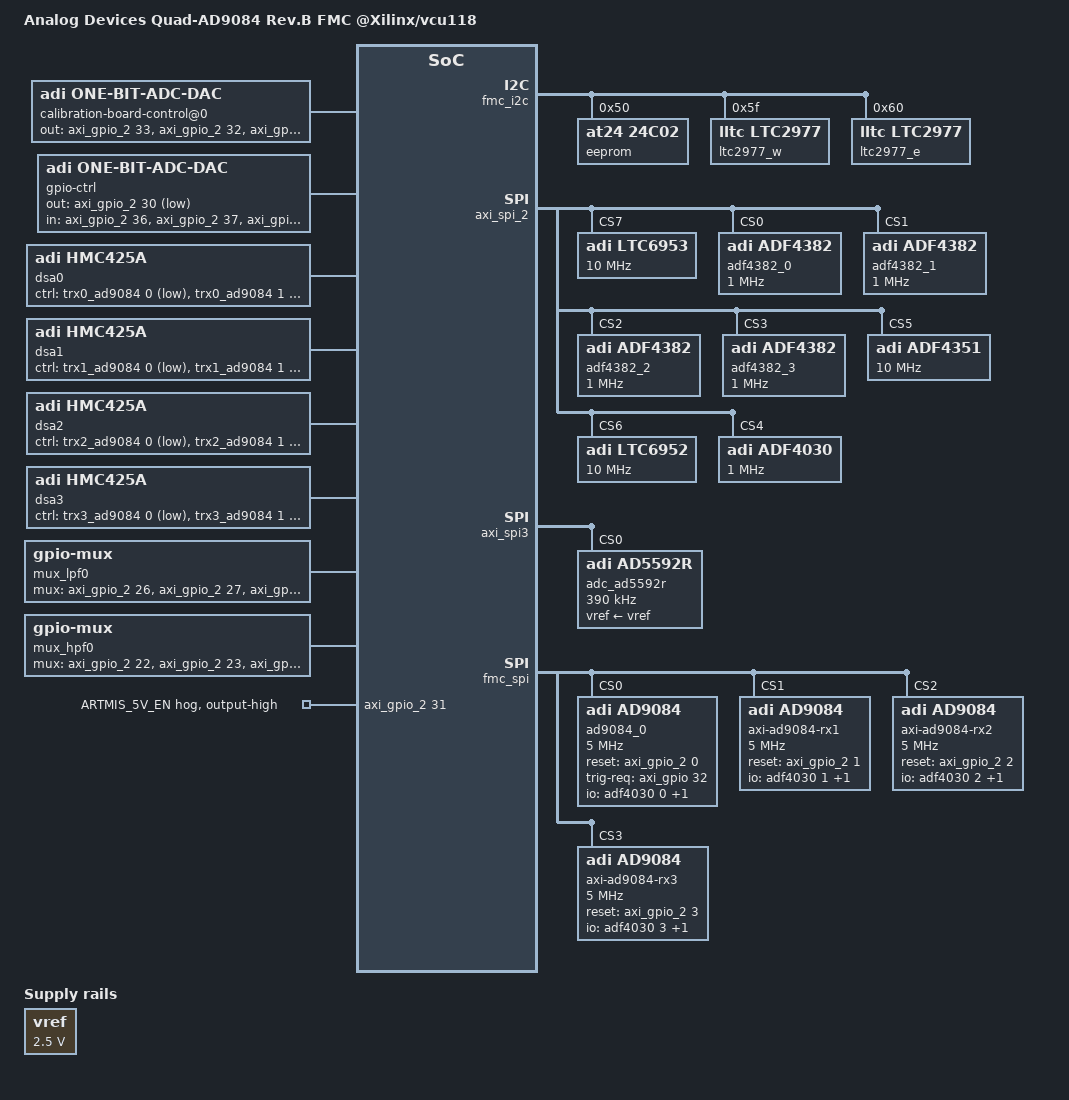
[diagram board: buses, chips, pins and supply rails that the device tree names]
// SPDX-License-Identifier: GPL-2.0
/*
 * Analog Devices Quad-AD9084 RevB
 * https://wiki.analog.com/resources/tools-software/linux-drivers/iio-mxfe/ad9084
 * https://wiki.analog.com/resources/eval/user-guides/ad9084_fmca_ebz/ad9084_fmca_ebz_hdl
 *
 * hdl_project: <quad_apollo/vcu118>
 * board_revision: <Rev.B>
 *
 * Copyright (C) 2024-2025 Analog Devices Inc.
 */

/dts-v1/;

#include "vcu118.dtsi"
#include <dt-bindings/iio/adc/adi,ad9088.h>
#include <dt-bindings/jesd204/adxcvr.h>
#include <dt-bindings/iio/adi,ad5592r.h>

#define fmc_i2c fmcp_hspc_iic
#define fmc_spi axi_spi

#ifndef DEVICE_PROFILE_NAME
#define DEVICE_PROFILE_NAME	"id01_uc42.bin"
#endif

//#define HSCI_FIXED_TIMING_PAR	1
#define HSCI_SPEED 800

#define min(X, Y)  ((X) < (Y) ? (X) : (Y))

#define MHz			1000000

#ifndef FREQ_J1_MHz
#define FREQ_J1_MHz		(400 * MHz)
#endif

#ifndef TX_CORE_CLK_MHz
#define TX_CORE_CLK_MHz		(200 * MHz)
#endif

#ifndef RX_CORE_CLK_MHz
#define RX_CORE_CLK_MHz		(200 * MHz)
#endif

#ifndef FPGA_REFCLK_CLK_MHz
#define FPGA_REFCLK_CLK_MHz	(200 * MHz)
#endif

#ifndef SYSREF_CLK_MHz
#define SYSREF_CLK_MHz		(6250000)
#endif

#define ONCHIP_PLL_LOW_FREQ	(400 * MHz)
#define EXT_VCO_FREQ		(2000 * MHz)

#define ADF4382_DIVIDER		1
#define ADF4382_DIG_DELAY	14
#define ADF4382_ANA_DELAY	0

#define APOLLO_SYSREF_DIVIDER	(FREQ_J1_MHz / SYSREF_CLK_MHz)
#define APOLLO_SYSREF_DIG_DELAY	14
#define APOLLO_SYSREF_ANA_DELAY	0
#define APOLLO_SYSREF_MODE	0

#define LTC6853_FOLLOWER_IN_DIG_DELAY	0
#define LTC6853_FOLLOWER_IN_ANA_DELAY	0

#define LTC6853_FOLLOWER_EZS_SRQ_DIVIDER	APOLLO_SYSREF_DIVIDER
#define LTC6853_FOLLOWER_EZS_SRQ_DIG_DELAY	14
#define LTC6853_FOLLOWER_EZS_SRQ_ANA_DELAY	0

#define FPGA_REFCLK_DIVIDER	(EXT_VCO_FREQ / FPGA_REFCLK_CLK_MHz)
#define FPGA_REFCLK_DIG_DELAY	0
#define FPGA_REFCLK_ANA_DELAY	0

#define FPGA_CORE_CLK_TX_DIVIDER	(EXT_VCO_FREQ / TX_CORE_CLK_MHz)
#define FPGA_CORE_CLK_TX_DIG_DELAY	0
#define FPGA_CORE_CLK_TX_ANA_DELAY	0

#define FPGA_CORE_CLK_RX_DIVIDER	(EXT_VCO_FREQ / RX_CORE_CLK_MHz)
#define FPGA_CORE_CLK_RX_DIG_DELAY	0
#define FPGA_CORE_CLK_RX_ANA_DELAY	0

#define APOLLO_LOWFREQ_DIVIDER		(FREQ_J1_MHz / ONCHIP_PLL_LOW_FREQ)
#define APOLLO_LOWFREQ_DIG_DELAY	0
#define APOLLO_LOWFREQ_ANA_DELAY	0

#undef APOLLO_LOWFREQ_PATH_ENABLED

#define LTC6953_AION_BSYNC_6_DIVIDER	64
#define LTC6953_AION_BSYNC_6_DIG_DELAY	14
#define LTC6953_AION_BSYNC_6_ANA_DELAY	0

#define J50_J51_DIVIDER			(FREQ_J1_MHz / SYSREF_CLK_MHz)
#define J50_J51_DIG_DELAY		14
#define J50_J51_ANA_DELAY		0

#define LTC6952_REF_IN_DIVIDER		4
#define LTC6952_REF_IN_DIG_DELAY	0
#define LTC6952_REF_IN_ANA_DELAY	0

#define LTC6852_EZS_SRQ_IN_DIVIDER	(FREQ_J1_MHz / SYSREF_CLK_MHz)
#define LTC6852_EZS_SRQ_IN_DIG_DELAY	14
#define LTC6852_EZS_SRQ_IN_ANA_DELAY	0

#define ADF4351_REF_IN_DIVIDER		20

/* LTC6952 */
#define J48_J49_DIVIDER			(EXT_VCO_FREQ / SYSREF_CLK_MHz)
#define J48_J49_DIG_DELAY		0
#define J48_J49_ANA_DELAY		0

#define ADF4030_REF_IN_DIVIDER		200
#define ADF4030_REF_IN_DIG_DELAY	0
#define ADF4030_REF_IN_ANA_DELAY	0

#define ADF4030_BSYNC_8_DIVIDER		(EXT_VCO_FREQ / SYSREF_CLK_MHz)
#define ADF4030_BSYNC_8_DIG_DELAY	0
#define ADF4030_BSYNC_8_ANA_DELAY	0


/ {
	model = "Analog Devices Quad-AD9084 Rev.B FMC @Xilinx/vcu118";

	clocks {
		clkin_j1: clock@0 {
			#clock-cells = <0>;
			compatible = "fixed-clock";
			clock-frequency = <FREQ_J1_MHz>;
			clock-output-names = "clkin_j1";
		};
	};

	vref: regulator-vref {
		compatible = "regulator-fixed";
		regulator-name = "vref-ad5592";
		regulator-min-microvolt = <2500000>;
		regulator-max-microvolt = <2500000>;
		regulator-always-on;
	};

	calibration-board-control@0 {
		compatible = "adi,one-bit-adc-dac";
		out-gpios = <&axi_gpio_2 33 0>, <&axi_gpio_2 32 0>, <&axi_gpio_2 34 0>, <&axi_gpio_2 35 0>;

		#address-cells = <1>;
		#size-cells = <0>;

		channel@0 {
			reg = <0>;
			label = "5045_V1";
		};

		channel@1 {
			reg = <1>;
			label = "5045_V2";
		};

		channel@2 {
			reg = <2>;
			label = "CTRL_IND";
		};

		channel@3 {
			reg = <3>;
			label = "CTRL_RX_COMBINED";
		};
	};

	axi-jesd204-rx@0 {
		compatible = "adi,iio-fake-platform-device";
		adi,faked-dev = <&axi_ad9084_rx_jesd>;
		adi,attribute-names =
			"status", "encoder", "lane0_info", "lane1_info",
			"lane2_info", "lane3_info", "lane4_info",
			"lane5_info", "lane6_info", "lane7_info",
			"lane8_info", "lane9_info", "lane10_info",
			"lane11_info", "lane12_info", "lane13_info",
			"lane14_info", "lane15_info";
		label = "axi-jesd204-rx";
	};

	axi-jesd204-rx@1 {
		compatible = "adi,iio-fake-platform-device";
		adi,faked-dev = <&axi_ad9084_tx_jesd>;
		adi,attribute-names = "status", "encoder";
		label = "axi-jesd204-rx";
	};

	axi-adxcvr-rx@2 {
		compatible = "adi,iio-fake-platform-device";
		adi,faked-dev = <&axi_ad9084_adxcvr_rx>;
		adi,attribute-names =
			"eyescan_info", "prbs_status", "prbs_counter_reset",
			"prescale", "enable", "prbs_error_counters", "reg_access",
			"eye_data", "prbs_select";
		label = "axi-adxcvr-rx";
	};

	axi-adxcvr-tx@4 {
		compatible = "adi,iio-fake-platform-device";
		adi,faked-dev = <&axi_ad9084_adxcvr_tx>;
		adi,attribute-names = "prbs_select", "prbs_error_inject", "reg_access";
		label = "axi-adxcvr-tx";
	};

	gpio-board-control@0 {
		compatible = "adi,one-bit-adc-dac";
		out-gpios = <&axi_gpio_2 30 1>;
		in-gpios = <&axi_gpio_2 36 0>, <&axi_gpio_2 37 0>, <&axi_gpio_2 38 0>, <&axi_gpio_2 39 0>,
			   <&axi_gpio_2 40 0>, <&axi_gpio_2 41 0>, <&axi_gpio_2 42 0>, <&axi_gpio_2 43 0>,
			   <&axi_gpio_2 44 0>;
		label = "gpio-ctrl";

		#address-cells = <1>;
		#size-cells = <0>;

		channel@0 {
			reg = <0>;
			label = "12v_PG";
		};
		channel@1 {
			reg = <1>;
			label = "Vdd_0.8v_PG";
		};
		channel@2 {
			reg = <2>;
			label = "Vdda_1.0v_PG";
		};
		channel@3 {
			reg = <3>;
			label = "Vddd_1.8v_PG";
		};
		channel@4 {
			reg = <4>;
			label = "Vdda_1.8v_PG";
		};
		channel@5 {
			reg = <5>;
			label = "Vneg_1.0v_PG";
		};
		channel@6 {
			reg = <6>;
			label = "Artemis_5.0v_PG";
		};
		channel@7 {
			reg = <7>;
			label = "Artemis_Status";
		};
		channel@8 {
			reg = <8>;
			label = "Clk_Status";
		};
		channel@9 {
			reg = <9>;
			label = "admv8913_cs_n";
		};
	};

	adrf5730_0 {
		compatible = "adi,hmc425a";
		ctrl-gpios = <&trx0_ad9084 0 GPIO_ACTIVE_LOW>,
			<&trx0_ad9084 1 GPIO_ACTIVE_LOW>,
			<&trx0_ad9084 2 GPIO_ACTIVE_LOW>,
			<&trx0_ad9084 3 GPIO_ACTIVE_LOW>,
			<&trx0_ad9084 4 GPIO_ACTIVE_LOW>,
			<&trx0_ad9084 5 GPIO_ACTIVE_LOW>;
		label = "dsa0";
	};

	adrf5730_1 {
		compatible = "adi,hmc425a";
		ctrl-gpios = <&trx1_ad9084 0 GPIO_ACTIVE_LOW>,
			<&trx1_ad9084 1 GPIO_ACTIVE_LOW>,
			<&trx1_ad9084 2 GPIO_ACTIVE_LOW>,
			<&trx1_ad9084 3 GPIO_ACTIVE_LOW>,
			<&trx1_ad9084 4 GPIO_ACTIVE_LOW>,
			<&trx1_ad9084 5 GPIO_ACTIVE_LOW>;
		label = "dsa1";
	};

	adrf5730_2 {
		compatible = "adi,hmc425a";
		ctrl-gpios = <&trx2_ad9084 0 GPIO_ACTIVE_LOW>,
			<&trx2_ad9084 1 GPIO_ACTIVE_LOW>,
			<&trx2_ad9084 2 GPIO_ACTIVE_LOW>,
			<&trx2_ad9084 3 GPIO_ACTIVE_LOW>,
			<&trx2_ad9084 4 GPIO_ACTIVE_LOW>,
			<&trx2_ad9084 5 GPIO_ACTIVE_LOW>;
		label = "dsa2";
	};

	adrf5730_3 {
		compatible = "adi,hmc425a";
		ctrl-gpios = <&trx3_ad9084 0 GPIO_ACTIVE_LOW>,
			<&trx3_ad9084 1 GPIO_ACTIVE_LOW>,
			<&trx3_ad9084 2 GPIO_ACTIVE_LOW>,
			<&trx3_ad9084 3 GPIO_ACTIVE_LOW>,
			<&trx3_ad9084 4 GPIO_ACTIVE_LOW>,
			<&trx3_ad9084 5 GPIO_ACTIVE_LOW>;
		label = "dsa3";
	};

	mux_lpf0: mux-controller0 {
		compatible = "gpio-mux";
		#mux-control-cells = <0>;

		mux-gpios = <&axi_gpio_2 26 0>, <&axi_gpio_2 27 0>, <&axi_gpio_2 28 0>, <&axi_gpio_2 29 0>;
	};

	mux_hpf0: mux-controller1 {
		compatible = "gpio-mux";
		#mux-control-cells = <0>;

		mux-gpios = <&axi_gpio_2 22 0>, <&axi_gpio_2 23 0>, <&axi_gpio_2 24 0>, <&axi_gpio_2 25 0>;
	};

	lpf_mux: mux-lpf {
		compatible = "adi,gen_mux";
		mux-controls = <&mux_lpf0>;
		mux-state-names =
			"0", "1", "2", "3", "4", "5", "6", "7", "8", "9", "10", "11", "12", "13", "14", "15";
		label = "lpf-ctrl";
		mux-default-state = "11";
	};

	hpf_mux: mux-hpf {
		compatible = "adi,gen_mux";
		mux-controls = <&mux_hpf0>;
		mux-state-names =
			"0", "1", "2", "3", "4", "5", "6", "7", "8", "9", "10", "11", "12", "13", "14", "15";
		label = "hpf-ctrl";
		mux-default-state = "13";
	};

};


&axi_intc {
	xlnx,kind-of-intr = <0xffff04f0>;
	xlnx,num-intr-inputs = <17>;
};

&axi_ethernet {
	local-mac-address = [00 0a 35 00 90 84];
};

&axi_iic_main {
	compatible = "xlnx,axi-iic-2.1", "xlnx,xps-iic-2.00.a"; /* Needed otherwise the HWMON devices would fail */
};

&fmc_i2c {
	eeprom@50 {
		compatible = "at24,24c02";
		reg = <0x50>;
	};
	/* West */
	ltc2977_w@5f {
		compatible = "lltc,ltc2977";
		reg = <0x5F>;
	};
	/* East */
	ltc2977_e@60 {
		compatible = "lltc,ltc2977";
		reg = <0x60>;
	};
};

&amba_pl {
	rx_dma: dma@7c420000 {
		compatible = "adi,axi-dmac-1.00.a";
		reg = <0x7c420000 0x10000>;
		#dma-cells = <1>;
		#clock-cells = <0>;
		interrupt-parent = <&axi_intc>;
		interrupts = <12 2>;

		clocks = <&clk_bus_0>;
	};

	tx_dma: dma@7c430000  {
		compatible = "adi,axi-dmac-1.00.a";
		reg = <0x7c430000 0x10000>;
		#dma-cells = <1>;
		#clock-cells = <0>;
		interrupt-parent = <&axi_intc>;
		interrupts = <13 2>;
		clocks = <&clk_bus_0>;

	};

	axi_ad9084_core_rx: axi-ad9084-rx-hpc@44a10000 {
		compatible = "adi,axi-ad9081-rx-1.0";
		reg = <0x44a10000 0x8000>;
		dmas = <&rx_dma 0>;
		dma-names = "rx";
		spibus-connected = <&trx0_ad9084>;

		jesd204-device;
		#jesd204-cells = <2>;
		jesd204-inputs = <&axi_ad9084_rx_jesd 0 FRAMER_LINK_B0_RX>;
	};

	axi_ad9084_core_tx: axi-ad9084-tx-hpc@44b10000 {
		compatible = "adi,axi-ad9081-tx-1.0";
		reg = <0x44b10000 0x4000>;
		dmas = <&tx_dma 0>;
		dma-names = "tx";
		clocks = <&trx0_ad9084 1>;
		clock-names = "sampl_clk";
		spibus-connected = <&trx0_ad9084>;
		adi,axi-pl-fifo-enable;
		adi,axi-data-offload-connected = <&axi_data_offload_tx>;

		jesd204-device;
		#jesd204-cells = <2>;
		jesd204-inputs = <&axi_ad9084_tx_jesd 0 DEFRAMER_LINK_B0_TX>;
	};

	axi_ad9084_rx_jesd: axi-jesd204-rx@44a90000 {
		compatible = "adi,axi-jesd204-rx-1.0";
		reg = <0x44a90000 0x4000>;
		interrupt-parent = <&axi_intc>;
		interrupts = <14 2>;

		clocks = <&clk_bus_0>, <&axi_ad9084_adxcvr_rx 1>, <&ltc6952 4>, <&axi_ad9084_adxcvr_rx 0>;
		clock-names = "s_axi_aclk", "link_clk", "device_clk", "lane_clk";

		#clock-cells = <0>;
		clock-output-names = "jesd_rx_lane_clk";

		jesd204-device;
		#jesd204-cells = <2>;
		jesd204-inputs = <&axi_ad9084_adxcvr_rx 0 FRAMER_LINK_B0_RX>;

		adi,lanes-disable-mask = <0x0F00>;
	};

	axi_ad9084_tx_jesd: axi-jesd204-tx@44b90000 {
		compatible = "adi,axi-jesd204-tx-1.0";
		reg = <0x44b90000 0x4000>;

		interrupt-parent = <&axi_intc>;
		interrupts = <15 2>;

		clocks = <&clk_bus_0>, <&axi_ad9084_adxcvr_tx 1>, <&ltc6952 3>, <&axi_ad9084_adxcvr_tx 0>;
		clock-names = "s_axi_aclk", "link_clk", "device_clk", "lane_clk";

		#clock-cells = <0>;
		clock-output-names = "jesd_tx_lane_clk";

		jesd204-device;
		#jesd204-cells = <2>;
		jesd204-inputs = <&axi_ad9084_adxcvr_tx 0 DEFRAMER_LINK_B0_TX>;
	};

	axi_ad9084_adxcvr_rx: axi-adxcvr-rx@44a60000 {
		#address-cells = <1>;
		#size-cells = <0>;
		compatible = "adi,axi-adxcvr-1.0";
		reg = <0x44a60000 0x1000>;

		clocks = <&ltc6952 2>; /* div40 is controlled by axi_ad9084_rx_jesd */
		clock-names = "conv";

		#clock-cells = <1>;
		clock-output-names = "rx_gt_clk", "rx_out_clk";

		adi,sys-clk-select = <XCVR_QPLL>;
		adi,out-clk-select = <XCVR_REFCLK>;
		adi,use-lpm-enable;

		jesd204-device;
		#jesd204-cells = <2>;
		jesd204-inputs =  <&ltc6953 0 FRAMER_LINK_B0_RX>;
	};

	axi_ad9084_adxcvr_tx: axi-adxcvr-tx@44b60000 {
		#address-cells = <1>;
		#size-cells = <0>;
		compatible = "adi,axi-adxcvr-1.0";
		reg = <0x44b60000 0x1000>;

		clocks = <&ltc6952 2>; /* div40 is controlled by axi_ad9084_tx_jesd */
		clock-names = "conv";

		#clock-cells = <1>;
		clock-output-names = "tx_gt_clk", "tx_out_clk";

		adi,sys-clk-select = <XCVR_QPLL>;
		adi,out-clk-select = <XCVR_REFCLK>; /* XCVR_PROGDIV_CLK */

		jesd204-device;
		#jesd204-cells = <2>;
		jesd204-inputs =  <&ltc6953 0 DEFRAMER_LINK_B0_TX>;
	};

	axi_sysid_0: axi-sysid-0@45000000 {
		compatible = "adi,axi-sysid-1.00.a";
		reg = <0x45000000 0x10000>;
	};

	axi_data_offload_rx: data_offload_rx@7c450000 {
		compatible = "adi,axi-data-offload-1.0.a";
		reg = <0x7c450000 0x10000>;
	};

	axi_data_offload_tx: data_offload_tx@7c440000 {
		compatible = "adi,axi-data-offload-1.0.a";
		reg = <0x7c440000 0x10000>;
	};

	axi_spi_2: spi@44A80000  {
		#address-cells = <1>;
		#size-cells = <0>;
		bits-per-word = <8>;
		compatible = "xlnx,axi-quad-spi-3.2", "xlnx,xps-spi-2.00.a";
		fifo-size = <16>;
		interrupt-names = "ip2intc_irpt";
		interrupt-parent = <&axi_intc>;
		interrupts = <7 0>;
		num-cs = <0x8>;
		reg = <0x44A80000 0x1000>;
		xlnx,num-ss-bits = <0x8>;
		xlnx,spi-mode = <0>;
	};

	axi_spi3: spi@44B80000 {
		#address-cells = <1>;
		#size-cells = <0>;
		bits-per-word = <8>;
		compatible = "xlnx,xps-spi-2.00.a";
		fifo-size = <16>;
		interrupt-parent = <&axi_intc>;
		interrupts = <16 0>;
		num-cs = <0x8>;
		reg = <0x44B80000 0x10000>;
		xlnx,num-ss-bits = <0x8>;
		xlnx,spi-mode = <0>;
	};

	axi_gpio_2: gpio@7c470000 {
		#gpio-cells = <2>;
		#interrupt-cells = <2>;
		clock-frequency = <100000000>;
		clock-names = "s_axi_aclk";
		clocks = <&clk_bus_0>;
		compatible = "xlnx,axi-gpio-2.0", "xlnx,xps-gpio-1.00.a";
		gpio-controller;
		interrupt-controller;
		interrupt-names = "ip2intc_irpt";
		interrupt-parent = <&axi_intc>;
		interrupts = <8 2>;
		reg = <0x7c470000 0x1000>;
		xlnx,all-inputs = <0x0>;
		xlnx,all-inputs-2 = <0x0>;
		xlnx,all-outputs = <0x0>;
		xlnx,all-outputs-2 = <0x0>;
		xlnx,dout-default = <0x00000000>;
		xlnx,dout-default-2 = <0x00000000>;
		xlnx,gpio-width = <0x20>;
		xlnx,gpio2-width = <0x20>;
		xlnx,interrupt-present = <0x1>;
		xlnx,is-dual = <0x1>;
		xlnx,tri-default = <0xFFFFFFFF>;
		xlnx,tri-default-2 = <0xFFFFFFFF>;

		artemis-en-hog { /* FIXME: add regulator suport for ADF4382 */
			gpio-hog;
			gpios = <31 GPIO_ACTIVE_HIGH>;
			output-high;
			line-name = "ARTMIS_5V_EN";
		};
	};

	hsci_clkgen: axi-clkgen@44ad0000  {
		compatible = "adi,axi-clkgen-2.00.a";
		reg = <0x44ad0000 0x10000>;
		#clock-cells = <0>;
		clocks = <&clk_bus_0>, <&clk_bus_0>;
		clock-names = "s_axi_aclk", "clkin1";
		clock-output-names = "hsci_clkgen";
	};

	axi_hsci_0: axi_hsci_0@7c500000 {
		compatible = "adi,axi-hsci-1.0.a";
		reg = <0x7c500000 0x40000>;
		clocks = <&hsci_clkgen>;
		clock-names = "pclk";

		adi,hsci-interface-speed-mhz = <HSCI_SPEED>;
	};

	axi_hsci_1: axi_hsci_1@7c600000 {
		compatible = "adi,axi-hsci-1.0.a";
		reg = <0x7c600000 0x40000>;
		clocks = <&hsci_clkgen>;
		clock-names = "pclk";

		adi,hsci-interface-speed-mhz = <HSCI_SPEED>;
	};

	axi_hsci_2: axi_hsci_2@7c700000 {
		compatible = "adi,axi-hsci-1.0.a";
		reg = <0x7c700000 0x40000>;
		clocks = <&hsci_clkgen>;
		clock-names = "pclk";

		adi,hsci-interface-speed-mhz = <HSCI_SPEED>;
	};

	axi_hsci_3: axi_hsci_3@7c800000 {
		compatible = "adi,axi-hsci-1.0.a";
		reg = <0x7c800000 0x40000>;
		clocks = <&hsci_clkgen>;
		clock-names = "pclk";

		adi,hsci-interface-speed-mhz = <HSCI_SPEED>;
	};

	axi_aion_trig: axi_aion_trig@7c900000 {
		compatible = "adi,axi-aion-trig-1.0.a";
		reg = <0x7c900000 0x1000>;
		clocks = <&ltc6952 4>;
		clock-names = "device_clk";

		jesd204-device;
		#jesd204-cells = <2>;
		jesd204-inputs =
			<&adf4030 0 FRAMER_LINK_B0_RX>,
			<&adf4030 0 DEFRAMER_LINK_B0_TX>;

		io-channels = <&adf4030 4>;
		io-channel-names = "bsync";
	};
};

#include <dt-bindings/iio/adc/adi,ad9081.h>

&axi_spi3 {
	adc_ad5592r: ad5592r@0 {
		#size-cells = <0>;
		#address-cells = <1>;
		compatible = "adi,ad5592r";
		reg = <0>;

		spi-max-frequency = <390000>; /* 390 kHz */
		spi-cpol;

		vref-supply = <&vref>; /* optional */

		channel@0 {
			reg = <0>;
			adi,mode = <CH_MODE_ADC>;
		};
		channel@1 {
			reg = <1>;
			adi,mode = <CH_MODE_ADC>;
		};
		channel@5 {
			reg = <5>;
			adi,mode = <CH_MODE_ADC>;
		};
		channel@7 {
			reg = <7>;
			adi,mode = <CH_MODE_ADC>;
		};
	};
};

&axi_spi_2 {

	ltc6953: ltc6953@7 {
		compatible = "adi,ltc6953";
		reg = <7>;
		#address-cells = <1>;
		#size-cells = <0>;
		spi-max-frequency = <10000000>;
		label = "ltc6953";

		clocks = <&clkin_j1>;
		clock-names = "clkin";

		jesd204-device;
		#jesd204-cells = <2>;
		jesd204-inputs =
			<&ltc6952 0 FRAMER_LINK_B0_RX>,
			<&ltc6952 0 DEFRAMER_LINK_B0_TX>;

		clock-output-names = "ltc6953_out0", "ltc6953_out1",
			"ltc6953_out2", "ltc6953_out3", "ltc6953_out4",
			"ltc6953_out5", "ltc6953_out6", "ltc6953_out7",
			"ltc6953_out8", "ltc6953_out9", "ltc6953_out10";

		#clock-cells = <1>;

		adi,pulse-generator-mode = <2>; /* Four Pulses */
		adi,controller-srqmd-en-during-sync-en;

		channel@0 {
			reg = <0>;
			adi,extended-name = "ADF4382_0_REFCLK";
			adi,divider = <ADF4382_DIVIDER>;
			adi,digital-delay = <ADF4382_DIG_DELAY>;
			adi,analog-delay = <ADF4382_ANA_DELAY>;
			//adi,sync-disable;
		};
		channel@1 {
			reg = <1>;
			adi,extended-name = "ADF4382_3_REFCLK";
			adi,divider = <ADF4382_DIVIDER>;
			adi,digital-delay = <ADF4382_DIG_DELAY>;
			adi,analog-delay = <ADF4382_ANA_DELAY>;
			//adi,sync-disable;
		};
		channel@2 {
			reg = <2>;
			adi,extended-name = "ADF4382_2_REFCLK";
			adi,divider = <ADF4382_DIVIDER>;
			adi,digital-delay = <ADF4382_DIG_DELAY>;
			adi,analog-delay = <ADF4382_ANA_DELAY>;
			//adi,sync-disable;
		};
		channel@3 {
			reg = <3>;
			adi,extended-name = "ADF4382_1_REFCLK";
			adi,divider = <ADF4382_DIVIDER>;
			adi,digital-delay = <ADF4382_DIG_DELAY>;
			adi,analog-delay = <ADF4382_ANA_DELAY>;
			//adi,sync-disable;
		};
#ifdef APOLLO_LOWFREQ_PATH_ENABLED
		channel@4 {
			reg = <4>;
			adi,extended-name = "APOLLO_1_LOWFREQ";
			adi,divider = <APOLLO_LOWFREQ_DIVIDER>;
			adi,digital-delay = <APOLLO_LOWFREQ_DIG_DELAY>;
			adi,analog-delay = <APOLLO_LOWFREQ_ANA_DELAY>;
		};
		channel@5 {
			reg = <5>;
			adi,extended-name = "APOLLO_0_LOWFREQ";
			adi,divider = <APOLLO_LOWFREQ_DIVIDER>;
			adi,digital-delay = <APOLLO_LOWFREQ_DIG_DELAY>;
			adi,analog-delay = <APOLLO_LOWFREQ_ANA_DELAY>;
		};
		channel@6 {
			reg = <6>;
			adi,extended-name = "APOLLO_2_LOWFREQ";
			adi,divider = <APOLLO_LOWFREQ_DIVIDER>;
			adi,digital-delay = <APOLLO_LOWFREQ_DIG_DELAY>;
			adi,analog-delay = <APOLLO_LOWFREQ_ANA_DELAY>;
		};
		channel@7 {
			reg = <7>;
			adi,extended-name = "APOLLO_3_LOWFREQ";
			adi,divider = <APOLLO_LOWFREQ_DIVIDER>;
			adi,digital-delay = <APOLLO_LOWFREQ_DIG_DELAY>;
			adi,analog-delay = <APOLLO_LOWFREQ_ANA_DELAY>;
		};
#else /* APOLLO_LOWFREQ_PATH_ENABLED */
		channel@6 {
			reg = <6>;
			adi,extended-name = "AION_BSYNC_6";
			adi,divider = <LTC6953_AION_BSYNC_6_DIVIDER>;
			adi,digital-delay = <LTC6953_AION_BSYNC_6_DIG_DELAY>;
			adi,analog-delay = <LTC6953_AION_BSYNC_6_ANA_DELAY>;
		};
		channel@7 {
			reg = <7>;
			adi,extended-name = "J50_J51_UFL_Output";
			adi,divider = <J50_J51_DIVIDER>;
			adi,digital-delay = <J50_J51_DIG_DELAY>;
			adi,analog-delay = <J50_J51_ANA_DELAY>;
		};
#endif
		channel@8 {
			reg = <8>;
			adi,extended-name = "LTC6952_REF_IN";
			adi,divider = <LTC6952_REF_IN_DIVIDER>;
			adi,digital-delay = <LTC6952_REF_IN_DIG_DELAY>;
			adi,analog-delay = <LTC6952_REF_IN_ANA_DELAY>;
			//adi,sync-disable;
		};
		channel@9 {
			reg = <9>;
			adi,extended-name = "LTC6852_EZS_SRQ_IN";
			adi,divider = <LTC6852_EZS_SRQ_IN_DIVIDER>;
			adi,digital-delay = <LTC6852_EZS_SRQ_IN_DIG_DELAY>;
			adi,analog-delay = <LTC6852_EZS_SRQ_IN_ANA_DELAY>;
			adi,sysref-mode = <2>; /* Request Pass-Through */
		};
		channel@10 {
			reg = <10>;
			adi,extended-name = "ADF4351_REF_IN";
			adi,divider = <ADF4351_REF_IN_DIVIDER>;
			adi,digital-delay = <14>;
			adi,analog-delay = <0>;
			//adi,sync-disable;
		};
	};

	adf4382_0: adf4382@0 {
		#clock-cells = <1>;
		compatible = "adi,adf4382";
		reg = <0>;
		spi-max-frequency = <1000000>;
		adi,output-power-value = <4>;
		adi,cmos-3v3;
		clocks = <&ltc6953 0>;
		clock-names = "ref_clk";
		clock-output-names = "adf4382_0_out_clk";
		label = "adf4382_0";
		#io-channel-cells = <1>;
	};

	adf4382_1: adf4382@1 {
		#clock-cells = <1>;
		compatible = "adi,adf4382";
		reg = <1>;
		spi-max-frequency = <1000000>;
		adi,output-power-value = <5>;
		adi,cmos-3v3;
		clocks = <&ltc6953 3>;
		clock-names = "ref_clk";
		clock-output-names = "adf4382_1_out_clk";
		label = "adf4382_1";
		#io-channel-cells = <1>;
	};

	adf4382_2: adf4382@2 {
		#clock-cells = <1>;
		compatible = "adi,adf4382";
		reg = <2>;
		spi-max-frequency = <1000000>;
		adi,output-power-value = <5>;
		adi,cmos-3v3;
		clocks = <&ltc6953 2>;
		clock-names = "ref_clk";
		clock-output-names = "adf4382_2_out_clk";
		label = "adf4382_2";
		#io-channel-cells = <1>;
	};

	adf4382_3: adf4382@3 {
		#clock-cells = <1>;
		compatible = "adi,adf4382";
		reg = <3>;
		spi-max-frequency = <1000000>;
		adi,output-power-value = <4>;
		adi,cmos-3v3;
		clocks = <&ltc6953 1>;
		clock-names = "ref_clk";
		clock-output-names = "adf4382_3_out_clk";
		label = "adf4382_3";
		#io-channel-cells = <1>;
	};

	adf4351: adf4351@5 {
		compatible = "adi,adf4351";
		reg = <5>;

		spi-max-frequency = <10000000>;
		#clock-cells = <1>;
		clocks = <&ltc6953 10>;
		clock-names = "clkin";
		label = "adf4351";

		adi,channel-spacing = <1000000>;
		adi,power-up-frequency = <EXT_VCO_FREQ>; /* 2 GHz */
		adi,phase-detector-polarity-positive-enable;
		adi,lock-detect-function-integer-n-enable;
		adi,charge-pump-current = <1>;
		adi,output-power = <3>;
		adi,mute-till-lock-enable;
		adi,muxout-select = <6>;
	};

	ltc6952: ltc6952@6 {
		compatible = "adi,ltc6952";
		reg = <6>;
		#address-cells = <1>;
		#size-cells = <0>;
		spi-max-frequency = <10000000>;
		label = "ltc6952";

		clocks = <&ltc6953 8> , <&adf4351 0>;
		clock-names = "clkin", "vcoin";

		jesd204-device;
		#jesd204-cells = <2>;
		jesd204-inputs =
			<&axi_aion_trig 0 FRAMER_LINK_B0_RX>,
			<&axi_aion_trig 0 DEFRAMER_LINK_B0_TX>;


		clock-output-names = "ltc6952_out0", "ltc6952_out1",
			"ltc6952_out2", "ltc6952_out3", "ltc6952_out4",
			"ltc6952_out5", "ltc6952_out6", "ltc6952_out7",
			"ltc6952_out8", "ltc6952_out9", "ltc6952_out10";

		#clock-cells = <1>;

		adi,vco-frequency-hz = <EXT_VCO_FREQ>; /* 2 GHz */
		adi,pulse-generator-mode = <2>; /* Four Pulses */
		adi,sync-via-ezs-srq-enable;

		channel@2 {
			reg = <2>;
			adi,extended-name = "FPGA_REFCLK";
			adi,divider = <FPGA_REFCLK_DIVIDER>;
			adi,digital-delay = <FPGA_REFCLK_DIG_DELAY>;
			adi,analog-delay = <FPGA_REFCLK_ANA_DELAY>;
			//adi,sync-disable;
		};
		channel@3 {
			reg = <3>;
			adi,extended-name = "FPGA_CORE_CLK_TX";
			adi,divider = <FPGA_CORE_CLK_TX_DIVIDER>;
			adi,digital-delay = <FPGA_CORE_CLK_TX_DIG_DELAY>;
			adi,analog-delay = <FPGA_CORE_CLK_TX_ANA_DELAY>;
		};
		channel@4 {
			reg = <4>;
			adi,extended-name = "FPGA_CORE_CLK_RX";
			adi,divider = <FPGA_CORE_CLK_RX_DIVIDER>;
			adi,digital-delay = <FPGA_CORE_CLK_RX_DIG_DELAY>;
			adi,analog-delay = <FPGA_CORE_CLK_RX_ANA_DELAY>;
		};

		channel@5 {
			reg = <5>;
			adi,extended-name = "ADF4030_REF_IN";
			adi,divider = <ADF4030_REF_IN_DIVIDER>;
			adi,digital-delay = <ADF4030_REF_IN_DIG_DELAY>;
			adi,analog-delay = <ADF4030_REF_IN_ANA_DELAY>;
		};
		channel@6 {
			reg = <6>;
			adi,extended-name = "ADF4030_BSYNC_8";
			adi,divider = <ADF4030_BSYNC_8_DIVIDER>;
			adi,digital-delay = <ADF4030_BSYNC_8_DIG_DELAY>;
			adi,analog-delay = <ADF4030_BSYNC_8_ANA_DELAY>;
		};
		channel@7 {
			reg = <7>;
			adi,extended-name = "J48_J49_UFL_Output";
			adi,divider = <J48_J49_DIVIDER>;
			adi,digital-delay = <J48_J49_DIG_DELAY>;
			adi,analog-delay = <J48_J49_ANA_DELAY>;
		};
	};

	adf4030: adf4030@4 {
		#clock-cells = <1>;
		compatible = "adi,adf4030";
		reg = <4>;

		#address-cells = <1>;
		#size-cells = <0>;
		#io-channel-cells = <1>;


		spi-max-frequency = <1000000>;
		clocks = <&ltc6952 5>;
		clock-names = "refin";
		clock-output-names = "adf4030_bsync_0", "adf4030_bsync_1",
			"adf4030_bsync_2", "adf4030_bsync_3", "adf4030_bsync_4",
			"adf4030_bsync_5", "adf4030_bsync_6", "adf4030_bsync_7",
			"adf4030_bsync_8", "adf4030_bsync_9";
		label = "adf4030";

		jesd204-device;
		#jesd204-cells = <2>;
		jesd204-sysref-provider;

		adi,vco-frequency-hz = <2500000000>; /* 2.5 GHz */
		adi,bsync-frequency-hz = <SYSREF_CLK_MHz>;
		adi,bsync-autoalign-reference-channel = <8>; /* LTC6952_OUT_6 */
		adi,bsync-autoalign-iteration-count = <6>;
		adi,bsync-secondary-frequency-hz = <12500000>; /* 12.5 MHz */

		channel@0 {
			reg = <0>;
			adi,extended-name = "APOLLO_SYSREF_0";
			adi,output-en;
			adi,input-output-reconfig-en;
			auto-align-on-sync-en;
			adi,rcm = <1>;
			adi,link-rx-en;
			adi,float-rx-en;
		};
		channel@1 {
			reg = <1>;
			adi,extended-name = "APOLLO_SYSREF_1";
			adi,output-en;
			adi,input-output-reconfig-en;
			auto-align-on-sync-en;
			adi,rcm = <1>;
			adi,link-rx-en;
			adi,float-rx-en;
		};
		channel@2 {
			reg = <2>;
			adi,extended-name = "APOLLO_SYSREF_2";
			adi,output-en;
			adi,input-output-reconfig-en;
			auto-align-on-sync-en;
			adi,rcm = <1>;
			adi,link-rx-en;
			adi,float-rx-en;
		};
		channel@3 {
			reg = <3>;
			adi,extended-name = "APOLLO_SYSREF_3";
			adi,output-en;
			adi,input-output-reconfig-en;
			auto-align-on-sync-en;
			adi,rcm = <1>;
			adi,link-rx-en;
			adi,float-rx-en;
		};
		channel@4 {
			reg = <4>;
			adi,extended-name = "FPGA_SYSREF_0"; /* RES rotate option for J40/J41 U.FL output */
			adi,output-en;
			adi,input-output-reconfig-en;
			auto-align-on-sync-en;
			adi,rcm = <62>;
			adi,link-rx-en;
			adi,float-rx-en;
		};
		// channel@5 {
		// 	reg = <5>;
		// 	adi,extended-name = "FPGA_SYSREF_1"; /* RES rotate option for J42/J43 U.FL output */
		// 	adi,output-en;
		// 	adi,input-output-reconfig-en;
		// 	adi,rcm = <62>;
		// };
		channel@6 {
			reg = <6>;
			adi,extended-name = "LTC6953_OUT_6";
			adi,link-rx-en;
			adi,float-rx-en;
		};
		/* BSYNC7 unused */
		channel@8 {
			reg = <8>;
			adi,extended-name = "LTC6952_OUT_8";
			adi,link-rx-en;
			adi,float-rx-en;
		};
		channel@9 {
			reg = <9>;
			adi,extended-name = "J46_J47_UFL";
			adi,output-en;
			adi,input-output-reconfig-en;
			auto-align-on-sync-en;
			adi,rcm = <62>;
		};
	};
};

&fmc_spi {
	trx0_ad9084: ad9084@0 {
		#address-cells = <1>;
		#size-cells = <0>;
		compatible = "adi,ad9084";
		reg = <0>;
		spi-max-frequency = <5000000>;
		label = "ad9084_0";

		gpio-controller;
		#gpio-cells = <2>;
		adi,gpio-exports = /bits/ 8 <7 10 11 12 13 14>; /* DSA Control GPIOS */

		adi,axi-hsci-connected = <&axi_hsci_0>;
#ifdef HSCI_FIXED_TIMING_PAR
		//adi,hsci-rx-clk-invert-en;
		adi,hsci-rx-clk-adj = <7>;
		adi,hsci-tx-clk-invert-en;
		adi,hsci-tx-clk-adj = <7>;
#endif
		adi,nyquist-zone = <2>;
		adi,hsci-auto-linkup-mode-en;
		//adi,hsci-disable-after-boot-en;

		adi,jtx0-logical-lane-mapping = <11 0 11 11 11 11 11 1 11 11 11 11>;
		adi,jtx1-logical-lane-mapping = <11 0 11 11 11 11 11 1 11 11 11 11>;

		adi,jrx0-physical-lane-mapping = <11 7 0 0 0 0 0 0 0 0 0 0>;
		adi,jrx1-physical-lane-mapping = <11 7 0 0 0 0 0 0 0 0 0 0>;

		adi,jtx-ser-amplitude = <0>;
		adi,jtx-ser-pre-emphasis = <2>;
		adi,jtx-ser-post-emphasis = <1>;

		/* Clocks */
		clocks = <&adf4382_0 0>;
		clock-names = "dev_clk";
		dev_clk-clock-scales = <1 10>;

		clock-output-names = "rx0_sampl_clk", "tx0_sampl_clk";
		#clock-cells = <1>;

		jesd204-device;
		#jesd204-cells = <2>;
		jesd204-top-device = <0>; /* This is the TOP device */
		jesd204-ignore-errors;


		jesd204-link-ids = <DEFRAMER_LINK_A0_TX
				    DEFRAMER_LINK_B0_TX
				    FRAMER_LINK_A0_RX
				    FRAMER_LINK_B0_RX>;

		jesd204-inputs =
			<&trx1_ad9084 0 FRAMER_LINK_A0_RX>,
			<&trx1_ad9084 0 FRAMER_LINK_B0_RX>,
			<&trx1_ad9084 0 DEFRAMER_LINK_A0_TX>,
			<&trx1_ad9084 0 DEFRAMER_LINK_B0_TX>;

		reset-gpios = <&axi_gpio_2 0 0>;
		trig-req-gpios = <&axi_gpio 32 0>;
		adi,trigger-sync-en;

		adi,device-profile-fw-name = DEVICE_PROFILE_NAME;

		adi,multidevice-instance-count = <4>;

		io-channels = <&adf4030 0>, <&adf4382_0 0>;
		io-channel-names = "bsync", "clk";
		
		adi,aion-background-serial-alignment-en;
	};

	trx1_ad9084: axi-ad9084-rx1@1 {
		#address-cells = <1>;
		#size-cells = <0>;
		compatible = "adi,ad9084";
		reg = <1>;
		spi-max-frequency = <5000000>;
		label = "axi-ad9084-rx1";

		gpio-controller;
		#gpio-cells = <2>;
		adi,gpio-exports = /bits/ 8 <7 10 11 12 13 14>; /* DSA Control GPIOS */

		adi,axi-hsci-connected = <&axi_hsci_1>;
#ifdef HSCI_FIXED_TIMING_PAR
		//adi,hsci-rx-clk-invert-en;
		adi,hsci-rx-clk-adj = <6>;
		adi,hsci-tx-clk-invert-en;
		adi,hsci-tx-clk-adj = <6>;
#endif
		adi,nyquist-zone = <2>;
		adi,hsci-auto-linkup-mode-en;
		//adi,hsci-disable-after-boot-en;

		adi,jtx0-logical-lane-mapping = <11 0 11 11 11 11 11 1 11 11 11 11>;
		adi,jtx1-logical-lane-mapping = <11 0 11 11 11 11 11 1 11 11 11 11>;

		adi,jrx0-physical-lane-mapping = <11 7 0 0 0 0 0 0 0 0 0 0>;
		adi,jrx1-physical-lane-mapping = <11 7 0 0 0 0 0 0 0 0 0 0>;

		adi,jtx-ser-amplitude = <0>;
		adi,jtx-ser-pre-emphasis = <2>;
		adi,jtx-ser-post-emphasis = <1>;

		/* Clocks */
		clocks = <&adf4382_1 0>;
		clock-names = "dev_clk";
		dev_clk-clock-scales = <1 10>;

		clock-output-names = "rx1_sampl_clk", "tx1_sampl_clk";
		#clock-cells = <1>;

		jesd204-device;
		#jesd204-cells = <2>;

		jesd204-inputs =
			<&trx2_ad9084 0 FRAMER_LINK_A0_RX>,
			<&trx2_ad9084 0 FRAMER_LINK_B0_RX>,
			<&trx2_ad9084 0 DEFRAMER_LINK_A0_TX>,
			<&trx2_ad9084 0 DEFRAMER_LINK_B0_TX>;

		reset-gpios = <&axi_gpio_2 1 0>;

		adi,device-profile-fw-name = DEVICE_PROFILE_NAME;
		adi,trigger-sync-en;

		io-channels = <&adf4030 1>, <&adf4382_1 0>;
		io-channel-names = "bsync", "clk";
	};

	trx2_ad9084: axi-ad9084-rx2@2 {
		#address-cells = <1>;
		#size-cells = <0>;
		compatible = "adi,ad9084";
		reg = <2>;
		spi-max-frequency = <5000000>;
		label = "axi-ad9084-rx2";

		gpio-controller;
		#gpio-cells = <2>;
		adi,gpio-exports = /bits/ 8 <7 10 11 12 13 14>; /* DSA Control GPIOS */

		adi,axi-hsci-connected = <&axi_hsci_2>;
#ifdef HSCI_FIXED_TIMING_PAR
		//adi,hsci-rx-clk-invert-en;
		adi,hsci-rx-clk-adj = <7>;
		adi,hsci-tx-clk-invert-en;
		adi,hsci-tx-clk-adj = <6>;
#endif
		adi,nyquist-zone = <2>;

		adi,hsci-auto-linkup-mode-en;
		//adi,hsci-disable-after-boot-en;

		adi,jtx0-logical-lane-mapping = <11 0 11 11 11 11 11 1 11 11 11 11>;
		adi,jtx1-logical-lane-mapping = <11 0 11 11 11 11 11 1 11 11 11 11>;

		adi,jrx0-physical-lane-mapping = <11 7 0 0 0 0 0 0 0 0 0 0>;
		adi,jrx1-physical-lane-mapping = <11 7 0 0 0 0 0 0 0 0 0 0>;

		adi,jtx-ser-amplitude = <0>;
		adi,jtx-ser-pre-emphasis = <2>;
		adi,jtx-ser-post-emphasis = <1>;

		/* Clocks */
		clocks = <&adf4382_2 0>;
		clock-names = "dev_clk";
		dev_clk-clock-scales = <1 10>;

		clock-output-names = "rx2_sampl_clk", "tx2_sampl_clk";
		#clock-cells = <1>;

		jesd204-device;
		#jesd204-cells = <2>;
		jesd204-ignore-errors;

		jesd204-inputs =
			<&trx3_ad9084 0 FRAMER_LINK_A0_RX>,
			<&trx3_ad9084 0 FRAMER_LINK_B0_RX>,
			<&trx3_ad9084 0 DEFRAMER_LINK_A0_TX>,
			<&trx3_ad9084 0 DEFRAMER_LINK_B0_TX>;

		reset-gpios = <&axi_gpio_2 2 0>;

		adi,device-profile-fw-name = DEVICE_PROFILE_NAME;
		adi,trigger-sync-en;
		io-channels = <&adf4030 2>, <&adf4382_2 0>;
		io-channel-names = "bsync", "clk";
	};

	trx3_ad9084: axi-ad9084-rx3@3 {
		#address-cells = <1>;
		#size-cells = <0>;
		compatible = "adi,ad9084";
		reg = <3>;
		spi-max-frequency = <5000000>;
		label = "axi-ad9084-rx3";

		gpio-controller;
		#gpio-cells = <2>;
		adi,gpio-exports = /bits/ 8 <7 10 11 12 13 14>; /* DSA Control GPIOS */

		adi,axi-hsci-connected = <&axi_hsci_3>;
#ifdef HSCI_FIXED_TIMING_PAR
		//adi,hsci-rx-clk-invert-en;
		adi,hsci-rx-clk-adj = <7>;
		adi,hsci-tx-clk-invert-en;
		adi,hsci-tx-clk-adj = <6>;
#endif
		adi,nyquist-zone = <2>;

		adi,hsci-auto-linkup-mode-en;
		//adi,hsci-disable-after-boot-en;

		adi,jtx0-logical-lane-mapping = <11 0 11 11 11 11 11 1 11 11 11 11>;
		adi,jtx1-logical-lane-mapping = <11 0 11 11 11 11 11 1 11 11 11 11>;

		adi,jrx0-physical-lane-mapping = <11 7 0 0 0 0 0 0 0 0 0 0>;
		adi,jrx1-physical-lane-mapping = <11 7 0 0 0 0 0 0 0 0 0 0>;

		adi,jtx-ser-amplitude = <0>;
		adi,jtx-ser-pre-emphasis = <2>;
		adi,jtx-ser-post-emphasis = <1>;


		/* Clocks */
		clocks = <&adf4382_3 0>;
		clock-names = "dev_clk";
		dev_clk-clock-scales = <1 10>;

		clock-output-names = "rx3_sampl_clk", "tx3_sampl_clk";
		#clock-cells = <1>;

		jesd204-device;
		#jesd204-cells = <2>;

		jesd204-inputs =
			<&axi_ad9084_core_rx 0 FRAMER_LINK_B0_RX>,
			<&axi_ad9084_core_tx 0 DEFRAMER_LINK_B0_TX>;

		reset-gpios = <&axi_gpio_2 3 0>;

		adi,device-profile-fw-name = DEVICE_PROFILE_NAME;
		adi,trigger-sync-en;

		io-channels = <&adf4030 3>, <&adf4382_3 0>;
		io-channel-names = "bsync", "clk";
	};
};
